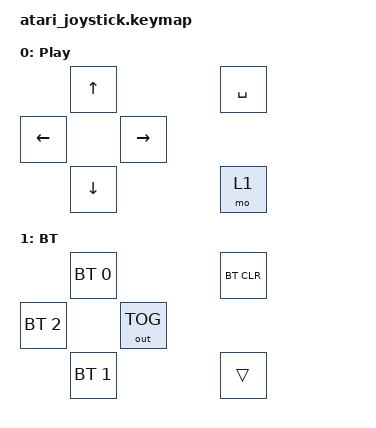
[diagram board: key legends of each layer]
#include <behaviors.dtsi>
#include <dt-bindings/zmk/keys.h>
#include <dt-bindings/zmk/bt.h>
#include <dt-bindings/zmk/outputs.h>

/ {
	keymap {
		compatible = "zmk,keymap";

		/*
		 * 스위치 순서: 0=상  1=하  2=좌  3=우  4=발사  5=Fn
		 */

		base_layer {
			display-name = "Play";
			bindings = <
				&kp UP
				&kp DOWN
				&kp LEFT
				&kp RIGHT
				&kp SPACE
				&mo 1
			>;
		};

		/*
		 * Fn을 누른 상태에서만 활성화.
		 *
		 *   Fn + 상    안드로이드 폰      (프로필 0)
		 *   Fn + 하    안드로이드 태블릿  (프로필 1)
		 *   Fn + 좌    윈도우 PC          (프로필 2)
		 *   Fn + 우    USB / 블루투스 출력 전환
		 *   Fn + 발사  현재 프로필 페어링 삭제
		 */
		settings_layer {
			display-name = "BT";
			bindings = <
				&bt BT_SEL 0
				&bt BT_SEL 1
				&bt BT_SEL 2
				&out OUT_TOG
				&bt BT_CLR
				&trans
			>;
		};
	};
};
